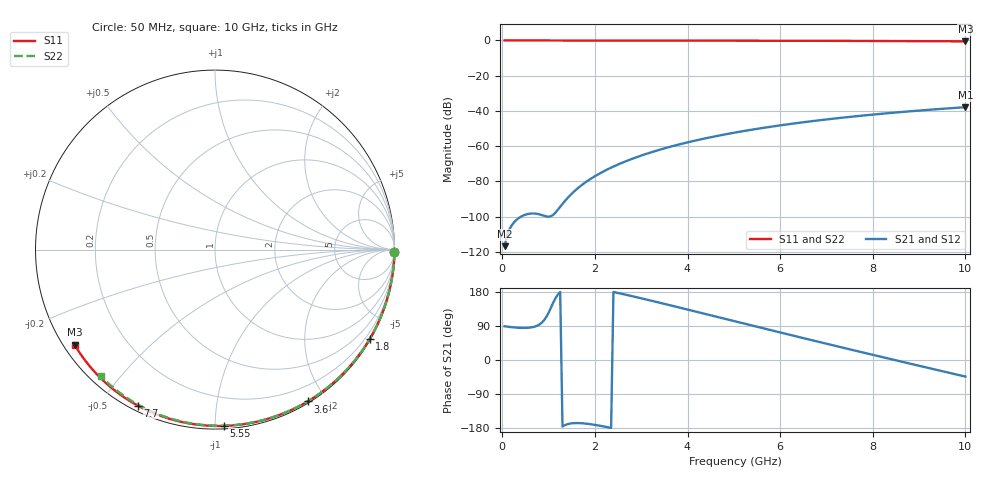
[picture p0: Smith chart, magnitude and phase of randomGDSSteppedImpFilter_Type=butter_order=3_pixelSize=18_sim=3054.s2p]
! freq	dB(S11)	phase(S11)	dB(S12)	phase(S12)
!  dB(S21)	phase(S21)	dB(S22)	phase(S22)
!S-par simulation data
#  GHz  S  DB  R 50
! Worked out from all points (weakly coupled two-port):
!   200 points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, 50 MHz to 10 GHz, reference 50 ohm
!   highest |S21| = -37.90 dB at 10 GHz (marker M1); lowest = -116.8 dB at 50 MHz (marker M2)
!   lowest |S11| = -0.5 dB at 10 GHz (marker M3), VSWR 35.29, Z = 1.55 - j15.3 ohm
!   |S11| at or under -10 dB: nowhere
!   |S22| runs from -0.4 to 0.0 dB; largest |S21 - S12| = 0
!   S11 on the Smith chart (normalised r, x): 50 MHz: open; 1.8 GHz: 0.03, -3.73; 3.6 GHz: 0.02, -1.78; 5.55 GHz: 0.02, -1.05; 7.7 GHz: 0.02, -0.62; 10 GHz: 0.03, -0.31
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0.05  -0.00 -0.9  -116.84 89.0  -116.84 89.0  -0.00 -0.8
0.45  -0.01 -7.6  -99.45 84.6  -99.45 84.6  -0.01 -6.9
0.9  -0.02 -15.2  -99.55 104.7  -99.55 104.7  -0.02 -13.7
1.3  -0.03 -21.8  -92.83 -175.5  -92.83 -175.5  -0.02 -19.6
1.75  -0.04 -29.2  -81.46 -167.2  -81.46 -167.2  -0.03 -26.3
1.8  -0.04 -30.0  -80.50 -167.8  -80.50 -167.8  -0.03 -27.1
1.85  -0.04 -30.9  -79.60 -168.5  -79.60 -168.5  -0.04 -27.8
2.05  -0.04 -34.1  -76.33 -172.2  -76.33 -172.2  -0.04 -30.7
2.2  -0.05 -36.5  -74.19 -175.6  -74.19 -175.6  -0.04 -32.9
2.55  -0.05 -42.2  -69.88 175.5  -69.88 175.5  -0.05 -38.0
2.95  -0.06 -48.5  -65.83 164.3  -65.83 164.3  -0.06 -43.8
3.4  -0.07 -55.5  -62.04 151.1  -62.04 151.1  -0.07 -50.1
3.6  -0.08 -58.6  -60.56 145.2  -60.56 145.2  -0.07 -52.9
4.3  -0.10 -69.2  -56.08 124.1  -56.08 124.1  -0.09 -62.5
5.05  -0.12 -80.1  -52.19 101.4  -52.19 101.4  -0.11 -72.5
5.55  -0.14 -87.2  -49.99 86.2  -49.99 86.2  -0.13 -79.0
6.1  -0.17 -94.9  -47.85 69.7  -47.85 69.7  -0.15 -86.0
6.7  -0.20 -103.0  -45.79 51.8  -45.79 51.8  -0.18 -93.5
7.7  -0.27 -116.3  -42.88 22.4  -42.88 22.4  -0.24 -105.5
8.35  -0.32 -124.7  -41.26 3.5  -41.26 3.5  -0.29 -113.2
9.2  -0.40 -135.6  -39.40 -20.9  -39.40 -20.9  -0.36 -123.0
10  -0.49 -145.9  -37.90 -43.8  -37.90 -43.8  -0.45 -132.1
